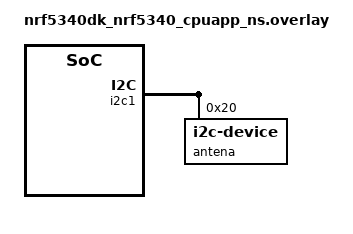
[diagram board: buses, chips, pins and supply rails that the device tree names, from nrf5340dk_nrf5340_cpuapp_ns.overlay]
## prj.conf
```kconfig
# Włączenie obsługi I2C
CONFIG_I2C=y

# Włączenie BT
CONFIG_BT=y
CONFIG_BT_DEVICE_NAME="Nordic"


# Konfiguracja konsoli
CONFIG_CONSOLE_SUBSYS=y
CONFIG_CONSOLE_GETCHAR=y
CONFIG_CONSOLE_GETCHAR_BUFSIZE=64
CONFIG_CONSOLE_PUTCHAR_BUFSIZE=64

# Włączenie logowania
CONFIG_LOG=y

# Włączenie obsługi pinów
CONFIG_PINCTRL=y

CONFIG_MAIN_STACK_SIZE=2048
CONFIG_SYSTEM_WORKQUEUE_STACK_SIZE=2048
```

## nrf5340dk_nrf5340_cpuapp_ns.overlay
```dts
// To get started, press Ctrl+Space to bring up the completion menu and view the available nodes.

// You can also use the buttons in the sidebar to perform actions on nodes.
// Actions currently available include:

// * Enabling / disabling the node
// * Adding the bus to a bus
// * Removing the node
// * Connecting ADC channels

// For more help, browse the DeviceTree documentation at https://docs.zephyrproject.org/latest/guides/dts/index.html
// You can also visit the nRF DeviceTree extension documentation at https://docs.nordicsemi.com/bundle/nrf-connect-vscode/page/guides/ncs_configure_app.html#devicetree-support-in-the-extension

&i2c1 {
    antena: antena@20{
        compatible = "i2c-device";
        status = "okay";
        reg = < 0x20 >;
        };
    };
&i2c1_default {
    group2 {
        psels = <NRF_PSEL(TWIM_SCL, 1, 3)>;
        bias-pull-up;
    };
};

&i2c1_default {
    group1 {
        psels = <NRF_PSEL(TWIM_SDA, 1, 2)>;
    };
};

&i2c1_default {
    group2 {
        psels = <NRF_PSEL(TWIM_SCL, 1, 3)>, <NRF_PSEL(TWIM_SDA, 1, 2)>;
    };
};
```

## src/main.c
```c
#include <zephyr/kernel.h>
#include <zephyr/device.h>
#include <zephyr/devicetree.h>
#include <zephyr/drivers/i2c.h>
#include <zephyr/sys/printk.h>
#include <zephyr/console/console.h>
#include <zephyr/logging/log.h>
#include <zephyr/bluetooth/bluetooth.h>
#include <zephyr/bluetooth/gap.h>

#define SLEEP_TIME_MS   1000
#define MCP23018_I2C_ADDR 0x20
#define MCP23018_IODIRA 0x00
#define MCP23018_IODIRB 0x01
#define MCP23018_IODIR_VAL 0x00
#define MCP23018_IOCON  0x00
#define MCP23018_I2C_OLATA_ADDR 0x14 
#define MCP23018_I2C_OLATB_ADDR 0x15
#define MCP23018_I2C_GPPUA_ADDR 0x0C
#define MCP23018_I2C_GPPUB_ADDR 0x0D

#define DEVICE_NAME CONFIG_BT_DEVICE_NAME
#define DEVICE_NAME_LEN (sizeof(DEVICE_NAME)-1)

#define I2C1_NODE DT_NODELABEL(antena)

LOG_MODULE_REGISTER(Bluetooth_ESPAR, LOG_LEVEL_DBG);

static const struct i2c_dt_spec dev_i2c = I2C_DT_SPEC_GET(I2C1_NODE);

static const struct bt_data ad[] =
{
    BT_DATA_BYTES(BT_DATA_FLAGS, BT_LE_AD_NO_BREDR),
    BT_DATA(BT_DATA_NAME_COMPLETE, DEVICE_NAME, DEVICE_NAME_LEN),
};

static unsigned char url_data[] = { 0x17, '/', '/', 'a', 'c', 'a', 'd', 'e', 'm',
				    'y',  '.', 'n', 'o', 'r', 'd', 'i', 'c', 's',
				    'e',  'm', 'i', '.', 'c', 'o', 'm' };

/* STEP 4.2.1 - Declare the scan response packet */
static const struct bt_data sd[] = {
	/* 4.2.3 Include the URL data in the scan response packet */
	BT_DATA(BT_DATA_URI, url_data, sizeof(url_data)),
};


void mcp23018_write_reg(uint8_t reg, uint8_t value)
{
    uint8_t buf[2] = {reg, value};
    i2c_write_dt(&dev_i2c, buf, sizeof(buf));
}

void mcp23018_init(void)
{
    mcp23018_write_reg(MCP23018_IODIRA, 0x00);
    mcp23018_write_reg(MCP23018_IODIRB, 0x00);
    mcp23018_write_reg(MCP23018_I2C_OLATA_ADDR, 0x00);
    mcp23018_write_reg(MCP23018_I2C_OLATB_ADDR, 0x00);
	mcp23018_write_reg(MCP23018_I2C_GPPUA_ADDR, 0xFF);
	mcp23018_write_reg(MCP23018_I2C_GPPUB_ADDR, 0xFF);
}

void update_outputs(uint16_t state)
{
    mcp23018_write_reg(MCP23018_I2C_OLATB_ADDR, state & 0xFF);
    mcp23018_write_reg(MCP23018_I2C_OLATA_ADDR, (state >> 8) & 0xFF);
}

int main(void)
{
    if (!device_is_ready(dev_i2c.bus)) {
        printk("I2C bus %s is not ready!\n", dev_i2c.bus->name);
        return -1;
    }

    mcp23018_init();
    
    if (console_init() < 0) {
        printk("Error initializing the console.\n");
        return -1;
    }

    uint16_t output_state = 0;

    int err;
    err = bt_enable(NULL);
    if (err)
    {
        LOG_ERR("Bluetooth init failed (err %d)\n",err);
        return -1;
    }
    LOG_INF("Bluetooth initialized\n");
    
    err = bt_le_adv_start(BT_LE_ADV_NCONN, ad, ARRAY_SIZE(ad),
			      sd, ARRAY_SIZE(sd));
	if (err) {
		LOG_ERR("Advertising failed to start (err %d)\n", err);
		return -1;
	}
    LOG_INF("Advertising successfully started\n");

    
    while (1) {
        printk("Wybierz numer pinu (1-9,a,b,c) do przelaczenia lub 'q' aby zakonczyc: ");
		//int pin = 0;
        char input = console_getchar();
        //scanf("%d",&pin);
        if (input == 'q') {
            break;
        }
        if (input == 'a'){input = input -39;}
        if (input == 'b'){input = input -39;}
        if (input == 'c'){input = input -39;}
        
        int pin = input - '0' - 1;
		if (pin >=6){ pin=pin+2;};
        if (pin >= 0 && pin <= 15) {
            output_state ^= (1 << pin);
            update_outputs(output_state);
            printk("Stan wyjsc: 0x%04X\n", output_state);
        } else {
            printk("Nieprawidlowy wybor. Sprobuj ponownie.\n");
        }
    }
}
```

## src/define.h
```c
#define SLEEP_TIME_MS   1000 	// 1000 msec = 1 sec / for auto switch
#define SLEEP_TIME_MS_BUTTON 10*60*1000 // = 10min / wait time for button press

#define MCP23018_I2C_ADDR	0x20	//Assumed address of expander - 0V on pin ADDR 
#define MCP23018_IODIRA	0x00 		//Address of register to set direction on bank A
#define MCP23018_IODIRB	0x01 		//Address of register to set direction on bank B
#define MCP23018_IODIR_VAL	0x00 	//Setting every pin to output direction

#define MCP23018_IOCON 0x00		//Not used - it is as default 

// When IOCON.BANK = 0 - by default
//#define MCP23018_I2C_GPIOA_ADDR 0x12	//Not used
//#define MCP23018_I2C_GPIOB_ADDR 0x13	//Not used
#define MCP23018_I2C_OLATA_ADDR 0x14 
#define MCP23018_I2C_OLATB_ADDR 0x15

#define MCP23018_I2C_GPPUA_ADDR 0x0C	
#define MCP23018_I2C_GPPUB_ADDR 0x0D
//
/* STEP 5 - Get the label of the I2C controller connected to your sensor */
```
